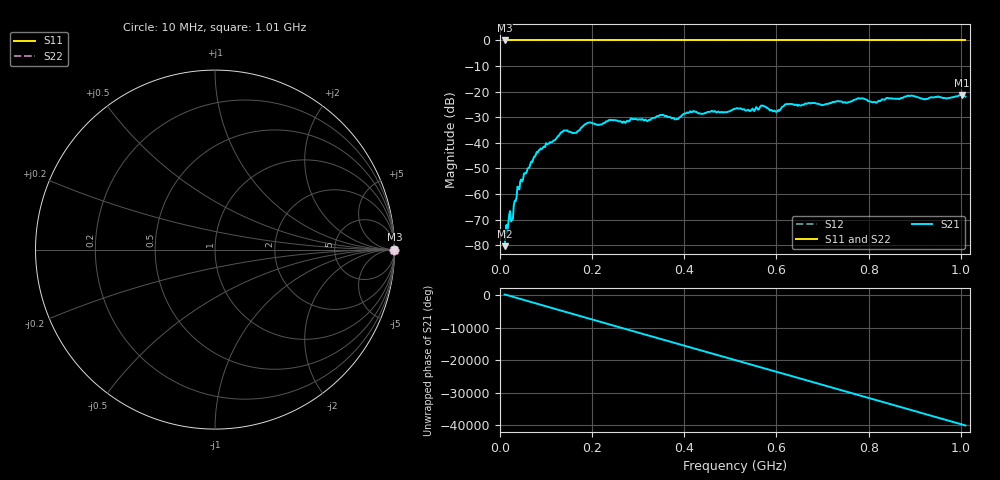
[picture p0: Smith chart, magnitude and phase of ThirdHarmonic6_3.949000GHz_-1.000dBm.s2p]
! 8/17/2025 1:59:53 PM
! C:\ANRITSUVNA\TEMP\TEMP.S2P
! CHANNEL.1
! TR.MEASUREMENT
! RAW.DATA
! RF.CORRECTION.OFF
! AVERAGING.OFF
! IF.BANDWIDTH: 5KHZ
! SWEEPTYPE:  FREQ.SWEEP(Linear)
! Reference Plane Port Info
! PORT:  PORT1  PORT2
! DISTANCE:  0  m  0  m
! TIME:  0  s  0  s
! PHASE.OFFSET:  0  deg.  0  deg.
! LOSS:  0  dB  0  dB
! REF.LOSS:  0  dB  0  dB
! REF.FREQ:  0  Hz  0  Hz
! Power Info
! POWER:  -20  dBm  -20  dBm
! EFF.POWER:  -20  dBm  -20  dBm
! SOURCE.ATTEN:  0  dB  0  dB
! TEST.ATTEN:  0  dB  0  dB
# GHZ S RI R 50.0
! FREQ.GHZ  S11RE  S11IM  S21RE  S21IM  S12RE  S12IM  S22RE  S22IM
!; PortSelection: Port_12
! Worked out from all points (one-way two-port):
!   501 points, 10 MHz to 1.01 GHz, reference 50 ohm
!   highest |S21| = -21.25 dB at 1.002 GHz (marker M1); lowest = -80.3 dB at 10 MHz (marker M2)
!   lowest |S11| = 0.0 dB at 10 MHz (marker M3)
!   |S11| at or under -10 dB: nowhere
!   |S22| runs from 0.0 to 0.0 dB; largest |S21 - S12| = 1.1
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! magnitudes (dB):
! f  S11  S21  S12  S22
! 10 MHz  0.0  -80.3  0.0  0.0
! 18 MHz  0.0  -71.5  0.0  0.0
! 28 MHz  0.0  -69.7  0.0  0.0
! 42 MHz  0.0  -58.2  0.0  0.0
! 76 MHz  0.0  -45.3  0.0  0.0
! 136 MHz  0.0  -35.7  0.0  0.0
! 162 MHz  0.0  -36.1  0.0  0.0
! 178 MHz  0.0  -33.8  0.0  0.0
! 192 MHz  0.0  -32.1  0.0  0.0
! 322 MHz  0.0  -31.2  0.0  0.0
! 344 MHz  0.0  -29.6  0.0  0.0
! 382 MHz  0.0  -30.7  0.0  0.0
! 416 MHz  0.0  -28.0  0.0  0.0
! 510 MHz  0.0  -26.7  0.0  0.0
! 570 MHz  0.0  -25.5  0.0  0.0
! 598 MHz  0.0  -27.8  0.0  0.0
! 622 MHz  0.0  -24.8  0.0  0.0
! 678 MHz  0.0  -24.5  0.0  0.0
! 814 MHz  0.0  -24.0  0.0  0.0
! 844 MHz  0.0  -22.6  0.0  0.0
! 1.002 GHz  0.0  -21.3  0.0  0.0
! 1.01 GHz  0.0  -21.9  0.0  0.0
